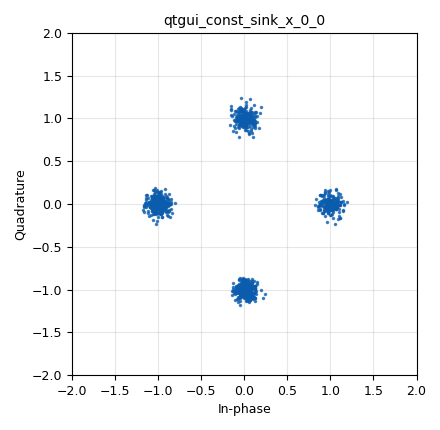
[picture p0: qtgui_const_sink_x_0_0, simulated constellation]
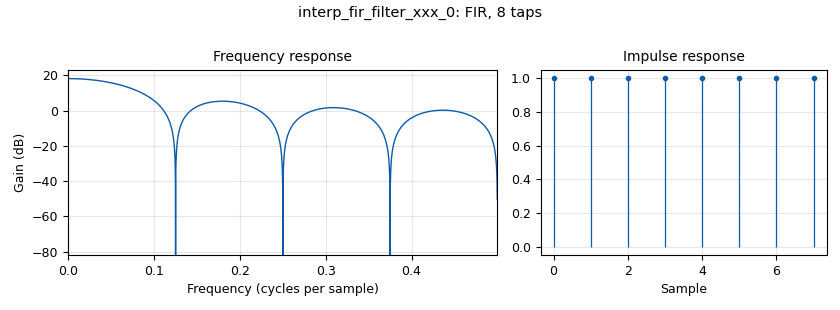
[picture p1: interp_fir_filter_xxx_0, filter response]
options:
  parameters:
    generate_options: qt_gui
    id: M_PSK
    output_language: python
    title: Not titled yet
  states: {}

blocks:
- name: Constelacion
  id: variable
  parameters:
    value: (1+0j, 0+1j, -1+0j, 0-1j)
  states: {}
- name: H
  id: variable
  parameters:
    value: (1,1,1,1,1,1,1,1)
  states: {}
- name: M
  id: variable
  parameters:
    value: '4'
  states: {}
- name: Npbs
  id: variable
  parameters:
    value: int(math.log(M,2))
  states: {}
- name: Rb
  id: variable
  parameters:
    value: '32000'
  states: {}
- name: Rs
  id: variable
  parameters:
    value: Rb/Npbs
  states: {}
- name: Sps
  id: variable
  parameters:
    value: len(H)
  states: {}
- name: samp_rate
  id: variable
  parameters:
    value: Rs*Sps
  states: {}
- name: analog_noise_source_x_0
  id: analog_noise_source_x
  parameters:
    amp: '0.1'
    noise_type: analog.GR_GAUSSIAN
    seed: '0'
    type: complex
  states: {}
- name: analog_random_source_x_0
  id: analog_random_source_x
  parameters:
    max: '2'
    min: '0'
    num_samps: '1000'
    repeat: 'True'
    type: byte
  states: {}
- name: blocks_add_xx_0
  id: blocks_add_xx
  parameters:
    type: complex
  states: {}
- name: blocks_char_to_float_0
  id: blocks_char_to_float
  parameters:
    scale: '1'
  states: {state: disabled}
- name: blocks_char_to_float_0_0
  id: blocks_char_to_float
  parameters:
    scale: '1'
  states: {state: disabled}
- name: blocks_repack_bits_bb_0
  id: blocks_repack_bits_bb
  parameters:
    endianness: gr.GR_LSB_FIRST
    k: '1'
    l: Npbs
  states: {}
- name: digital_chunks_to_symbols_xx_0
  id: digital_chunks_to_symbols_xx
  parameters:
    dimension: '1'
    in_type: byte
    out_type: complex
    symbol_table: Constelacion
  states: {}
- name: import_0
  id: import
  parameters:
    imports: import math
  states: {}
- name: interp_fir_filter_xxx_0
  id: interp_fir_filter_xxx
  parameters:
    interp: Sps
    taps: H
    type: ccc
  states: {}
- name: qtgui_const_sink_x_0
  id: qtgui_const_sink_x
  parameters:
    size: '1024'
    type: complex
  states: {state: disabled}
- name: qtgui_const_sink_x_0_0
  id: qtgui_const_sink_x
  parameters:
    size: '1024'
    type: complex
  states: {}
- name: qtgui_freq_sink_x_0
  id: qtgui_freq_sink_x
  parameters:
    average: '0.05'
    bw: samp_rate
    fc: '0'
    fftsize: '1024'
    type: complex
  states: {state: disabled}
- name: qtgui_time_sink_x_0
  id: qtgui_time_sink_x
  parameters:
    marker1: '0'
    size: '32'
    srate: Rb
    stemplot: 'True'
    type: float
    width1: '3'
  states: {state: disabled}
- name: qtgui_time_sink_x_0_0
  id: qtgui_time_sink_x
  parameters:
    marker1: '0'
    size: int(32/Npbs)
    srate: Rs
    stemplot: 'True'
    type: float
    width1: '3'
  states: {state: disabled}
- name: qtgui_time_sink_x_0_0_0
  id: qtgui_time_sink_x
  parameters:
    label1: M_PAM mod
    marker1: '0'
    size: int(32/Npbs)
    srate: Rs
    stemplot: 'True'
    type: float
    width1: '3'
  states: {state: disabled}
- name: qtgui_time_sink_x_0_0_0_0
  id: qtgui_time_sink_x
  parameters:
    color1: dark blue
    color2: cyan
    label1: EC-Re
    label2: EC-im
    marker1: '0'
    marker2: '0'
    size: int(32/Npbs)
    srate: Rs
    stemplot: 'True'
    type: complex
    width1: '3'
    width2: '3'
  states: {state: disabled}
- name: qtgui_time_sink_x_0_0_0_0_0
  id: qtgui_time_sink_x
  parameters:
    color1: dark blue
    color2: cyan
    label1: EC-Re
    label2: EC-im
    size: int(32*Sps/Npbs)
    srate: samp_rate
    type: complex
    width1: '3'
    width2: '3'
  states: {state: disabled}

connections:
- [analog_noise_source_x_0, '0', blocks_add_xx_0, '1']
- [analog_random_source_x_0, '0', blocks_char_to_float_0, '0']
- [analog_random_source_x_0, '0', blocks_repack_bits_bb_0, '0']
- [blocks_add_xx_0, '0', qtgui_const_sink_x_0_0, '0']
- [blocks_char_to_float_0, '0', qtgui_time_sink_x_0, '0']
- [blocks_char_to_float_0_0, '0', qtgui_time_sink_x_0_0, '0']
- [blocks_repack_bits_bb_0, '0', blocks_char_to_float_0_0, '0']
- [blocks_repack_bits_bb_0, '0', digital_chunks_to_symbols_xx_0, '0']
- [digital_chunks_to_symbols_xx_0, '0', interp_fir_filter_xxx_0, '0']
- [interp_fir_filter_xxx_0, '0', blocks_add_xx_0, '0']
- [interp_fir_filter_xxx_0, '0', qtgui_freq_sink_x_0, '0']
- [interp_fir_filter_xxx_0, '0', qtgui_time_sink_x_0_0_0_0_0, '0']

metadata:
  file_format: 1
  grc_version: 3.9.8.0
